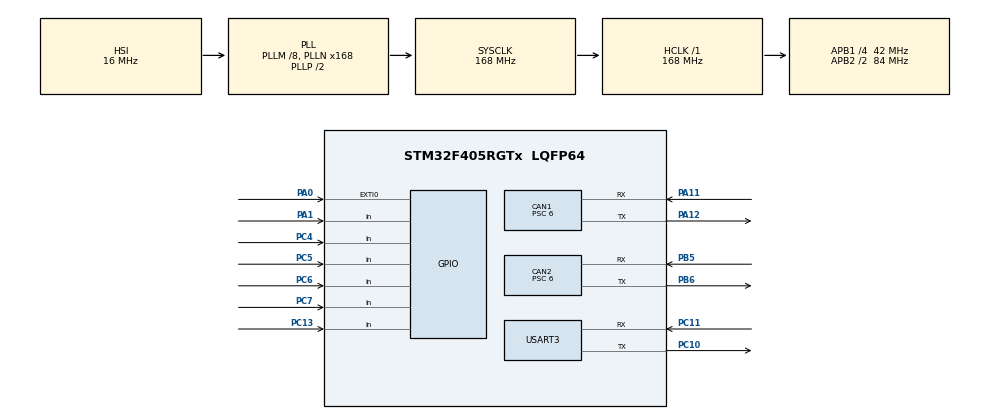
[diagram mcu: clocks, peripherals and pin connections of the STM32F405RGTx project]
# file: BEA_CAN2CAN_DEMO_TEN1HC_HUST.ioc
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ADC1.Channel-13\#ChannelRegularConversion=ADC_CHANNEL_TEMPSENSOR
ADC1.DMAContinuousRequests=ENABLE
ADC1.NbrOfConversion=1
ADC1.NbrOfConversionFlag=1
ADC1.Rank-13\#ChannelRegularConversion=1
ADC1.SamplingTime-13\#ChannelRegularConversion=ADC_SAMPLETIME_480CYCLES
ADC1.master=1
CAN1.BS1=CAN_BS1_10TQ
CAN1.BS2=CAN_BS2_3TQ
CAN1.CalculateBaudRate=500000
CAN1.CalculateTimeBit=2000
CAN1.CalculateTimeQuantum=142.85714285714286
CAN1.Prescaler=6
CAN1.SyncJumpWidth=CAN_SJW_2TQ
CAN1.TimeSeg1=CAN_BS1_10TQ
CAN1.TimeSeg2=CAN_BS2_3TQ
CAN2.BS1=CAN_BS1_10TQ
CAN2.BS2=CAN_BS2_3TQ
CAN2.CalculateBaudRate=500000
CAN2.CalculateTimeBit=2000
CAN2.CalculateTimeQuantum=142.85714285714286
CAN2.Prescaler=6
CAN2.SyncJumpWidth=CAN_SJW_2TQ
Dma.ADC1.0.Direction=DMA_PERIPH_TO_MEMORY
Dma.ADC1.0.FIFOMode=DMA_FIFOMODE_DISABLE
Dma.ADC1.0.Instance=DMA2_Stream0
Dma.ADC1.0.MemDataAlignment=DMA_MDATAALIGN_HALFWORD
Dma.ADC1.0.MemInc=DMA_MINC_ENABLE
Dma.ADC1.0.Mode=DMA_CIRCULAR
Dma.ADC1.0.PeriphDataAlignment=DMA_PDATAALIGN_HALFWORD
Dma.ADC1.0.PeriphInc=DMA_PINC_DISABLE
Dma.ADC1.0.Priority=DMA_PRIORITY_MEDIUM
Dma.Request0=ADC1
Mcu.Family=STM32F4
Mcu.Name=STM32F405RGTx
Mcu.Package=LQFP64
NVIC.CAN1_RX0_IRQn=true\:2\:0\:true\:false\:true\:true\:true\:true
NVIC.CAN2_RX0_IRQn=true\:2\:0\:true\:false\:true\:true\:true\:true
NVIC.DMA2_Stream0_IRQn=true\:0\:0\:false\:false\:true\:false\:true\:true
NVIC.EXTI0_IRQn=true\:1\:0\:true\:false\:true\:true\:true\:true
NVIC.PriorityGroup=NVIC_PRIORITYGROUP_4
NVIC.USART3_IRQn=true\:1\:0\:true\:false\:true\:true\:true\:true
PA0-WKUP.GPIO_ModeDefaultEXTI=GPIO_MODE_IT_FALLING
PA0-WKUP.GPIO_PuPd=GPIO_PULLUP
PA0-WKUP.Signal=GPXTI0
PA1.GPIO_PuPd=GPIO_PULLUP
PA1.Signal=GPIO_Input
PA11.Mode=CAN_Activate
PA11.Signal=CAN1_RX
PA12.Mode=CAN_Activate
PA12.Signal=CAN1_TX
PB5.Mode=CAN_Activate
PB5.Signal=CAN2_RX
PB6.Mode=CAN_Activate
PB6.Signal=CAN2_TX
PC10.Mode=Asynchronous
PC10.Signal=USART3_TX
PC11.Mode=Asynchronous
PC11.Signal=USART3_RX
PC13-ANTI_TAMP.GPIO_PuPd=GPIO_PULLUP
PC13-ANTI_TAMP.Signal=GPIO_Input
PC4.GPIO_PuPd=GPIO_PULLUP
PC4.Signal=GPIO_Input
PC5.GPIO_PuPd=GPIO_PULLUP
PC5.Signal=GPIO_Input
PC6.GPIO_PuPd=GPIO_PULLUP
PC6.Signal=GPIO_Input
PC7.GPIO_PuPd=GPIO_PULLUP
PC7.Signal=GPIO_Input
PH0-OSC_IN.Mode=HSE-External-Oscillator
PH0-OSC_IN.Signal=RCC_OSC_IN
PH1-OSC_OUT.Mode=HSE-External-Oscillator
PH1-OSC_OUT.Signal=RCC_OSC_OUT
ProjectManager.HeapSize=0x200
ProjectManager.StackSize=0x400
ProjectManager.TargetToolchain=STM32CubeIDE
RCC.48MHZClocksFreq_Value=84000000
RCC.AHBFreq_Value=168000000
RCC.APB1CLKDivider=RCC_HCLK_DIV4
RCC.APB1Freq_Value=42000000
RCC.APB1TimFreq_Value=84000000
RCC.APB2CLKDivider=RCC_HCLK_DIV2
RCC.APB2Freq_Value=84000000
RCC.APB2TimFreq_Value=168000000
RCC.CortexFreq_Value=168000000
RCC.HCLKFreq_Value=168000000
RCC.HSE_VALUE=8000000
RCC.HSI_VALUE=16000000
RCC.LSE_VALUE=32768
RCC.PLLM=8
RCC.PLLN=168
RCC.SYSCLKFreq_VALUE=168000000
RCC.SYSCLKSource=RCC_SYSCLKSOURCE_PLLCLK
RCC.VCOOutputFreq_Value=336000000
USART3.VirtualMode=VM_ASYNC
VP_ADC1_TempSens_Input.Mode=IN-TempSens
board=custom

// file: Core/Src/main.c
/* USER CODE BEGIN Header */
/**
  ******************************************************************************
  * @file           : main.c
  * @brief          : Main program body
  ******************************************************************************
  * @attention
  *
  * Copyright (c) 2023 STMicroelectronics.
  * All rights reserved.
  *
  * This software is licensed under terms that can be found in the LICENSE file
  * in the root directory of this software component.
  * If no LICENSE file comes with this software, it is provided AS-IS.
  *
  ******************************************************************************
  */
/* USER CODE END Header */
#include "main.h"
#include <stdio.h>
#include <stdlib.h>
#include <string.h>
#include "dcm.h"
#include "lcd_driver.h"

ADC_HandleTypeDef hadc1;
DMA_HandleTypeDef hdma_adc1;

CAN_HandleTypeDef hcan1;
CAN_HandleTypeDef hcan2;

UART_HandleTypeDef huart3;

/* USER CODE BEGIN PV */
uint8_t uart3_receive;

CAN_HandleTypeDef hcan1;
CAN_HandleTypeDef hcan2;
CAN_TxHeaderTypeDef CAN1_pHeader;
CAN_RxHeaderTypeDef CAN1_pHeaderRx;
CAN_FilterTypeDef CAN1_sFilterConfig;
CAN_TxHeaderTypeDef CAN2_pHeader;
CAN_RxHeaderTypeDef CAN2_pHeaderRx;
CAN_FilterTypeDef CAN2_sFilterConfig;
uint32_t CAN1_pTxMailbox;
uint32_t CAN2_pTxMailbox;

uint16_t NumBytesReq = 0;
uint8_t  REQ_BUFFER  [4096];
uint8_t  REQ_1BYTE_DATA;

uint16_t g_TemperatureSensorRawValue_u16[1];

uint8_t CAN1_DATA_TX[8] = {0x00,0x00,0x00,0x00,0x00,0x00,0x00,0x00};
uint8_t CAN1_DATA_RX[8] = {0x00,0x00,0x00,0x00,0x00,0x00,0x00,0x00};
uint8_t CAN2_DATA_TX[8] = {0x00,0x00,0x00,0x00,0x00,0x00,0x00,0x00};
uint8_t CAN2_DATA_RX[8] = {0x00,0x00,0x00,0x00,0x00,0x00,0x00,0x00};

uint16_t Num_Consecutive_Tester;
uint8_t  Flg_Consecutive = 0;

unsigned int TimeStamp;
// maximum characters send out via UART is 30
char bufsend[30]="XXX: D1 D2 D3 D4 D5 D6 D7 D8  ";

/* --- Node Variables --- */
uint8_t node1_val0 = 0x00;
uint8_t node1_val1 = 0x00;
uint8_t node2_counter = 0x00;
uint32_t tick_50ms = 0;
uint32_t tick_20ms = 0;
/* USER CODE END PV */

void SystemClock_Config(void);
static void MX_GPIO_Init(void);
static void MX_DMA_Init(void);
static void MX_CAN1_Init(void);
static void MX_CAN2_Init(void);
static void MX_USART3_UART_Init(void);
static void MX_ADC1_Init(void);
/* USER CODE BEGIN PFP */
void MX_CAN1_Setup();
void MX_CAN2_Setup();
void USART3_SendString(uint8_t *ch);
void PrintCANLog(uint16_t CANID, uint8_t * CAN_Frame);
void SID_22_Practice();
void SID_2E_Practice();
void SID_27_Practice();
void delay(uint16_t delay);
uint8_t Calc_CRC_SAE_J1850(uint8_t *data, uint8_t len);
/* USER CODE END PFP */

/* USER CODE BEGIN 0 */
volatile uint8_t flag_new_can1_log = 0;
volatile uint8_t flag_can_ready = 0; // Prevent SysTick crash during boot

#define TX_QUEUE_SIZE 16
volatile uint32_t tx_timestamps[TX_QUEUE_SIZE];
volatile uint8_t tx_data_queue[TX_QUEUE_SIZE][8];
volatile uint8_t tx_queue_head = 0;
volatile uint8_t tx_queue_tail = 0;
uint8_t can1_log_data[8];
volatile uint8_t flag_new_can1_rx = 0;
uint8_t can1_rx_data[8];
volatile uint8_t flag_new_can2_rx = 0;
uint8_t can2_rx_data[8];
uint8_t can2_rx_crc = 0;
uint8_t can2_rx_crc_ok = 0;
/* USER CODE END 0 */

int main(void)
{

  /* USER CODE BEGIN 1 */
	uint16_t i,j = 0;
	uint16_t Consecutive_Cntr = 0;
  /* USER CODE END 1 */

  /* MCU Configuration--------------------------------------------------------*/

  /* Reset of all peripherals, Initializes the Flash interface and the Systick. */
  HAL_Init();

  /* Configure the system clock */
  SystemClock_Config();

  /* Initialize all configured peripherals */
  MX_GPIO_Init();
  MX_DMA_Init();
  MX_CAN1_Init();
  MX_CAN2_Init();
  MX_USART3_UART_Init();
  MX_ADC1_Init();
  /* USER CODE BEGIN 2 */
  LCD_Init();
  LCD_InitDashboard();
  MX_CAN1_Setup();
  MX_CAN2_Setup();
  flag_can_ready = 1;
  __HAL_UART_ENABLE_IT(&huart3, UART_IT_RXNE);
  HAL_ADC_Start_DMA(&hadc1, (uint32_t*)g_TemperatureSensorRawValue_u16, 1);
  tick_50ms = HAL_GetTick();
  tick_20ms = HAL_GetTick();
  /* USER CODE END 2 */

  /* Infinite loop */
  while (1)
  {

    /* USER CODE BEGIN 3 */
    uint32_t current_tick = HAL_GetTick();

    static uint32_t last_tx2_lcd = 0;
    if (current_tick - last_tx2_lcd >= 100) {
        last_tx2_lcd = current_tick;
        LCD_UpdateNode2(1, CAN2_DATA_TX, 0, 0); // is_tx=1
    }

    static uint32_t last_tx1_lcd = 0;
    if (current_tick - last_tx1_lcd >= 100) {
        last_tx1_lcd = current_tick;
        LCD_UpdateNode1(1, CAN1_DATA_TX); // is_tx=1
    }

    /* Handle deferred LCD updates from CAN ISRs (prevent SPI re-entrancy) */
    static uint32_t last_rx_lcd = 0;
    if (current_tick - last_rx_lcd >= 100) {
        last_rx_lcd = current_tick;
        if (flag_new_can1_rx) {
            flag_new_can1_rx = 0;
            LCD_UpdateNode1(0, can1_rx_data);
        }
        if (flag_new_can1_log) {
            flag_new_can1_log = 0;
            LCD_AddLog(can1_log_data);
        }
        if (flag_new_can2_rx) {
            flag_new_can2_rx = 0;
            LCD_UpdateNode2(0, can2_rx_data, can2_rx_crc, can2_rx_crc_ok);
        }
    }

    while (tx_queue_tail != tx_queue_head) {
        char buf[100];
        sprintf(buf, "%u %03X: %02X %02X %02X %02X %02X %02X %02X %02X\r\n",
                (unsigned int)tx_timestamps[tx_queue_tail], 0x012,
                tx_data_queue[tx_queue_tail][0], tx_data_queue[tx_queue_tail][1],
                tx_data_queue[tx_queue_tail][2], tx_data_queue[tx_queue_tail][3],
                tx_data_queue[tx_queue_tail][4], tx_data_queue[tx_queue_tail][5],
                tx_data_queue[tx_queue_tail][6], tx_data_queue[tx_queue_tail][7]);
        USART3_SendString((uint8_t*)buf);
        tx_queue_tail = (tx_queue_tail + 1) % TX_QUEUE_SIZE;
    }

    if(!BtnU) /*IG OFF->ON stimulation*/
    {
      delay(20);
      USART3_SendString((uint8_t *)"IG OFF ");
      while(!BtnU);
      MX_CAN1_Setup();
      MX_CAN2_Setup();
      USART3_SendString((uint8_t *)"-> IG ON \n");
      delay(20);
    }

    /* Kiem tra REQ_BUFFER co chua 1 frame BEA hoan chinh hay khong */
      if (NumBytesReq >= 7 &&
          REQ_BUFFER[0] == 0x0F && REQ_BUFFER[1] == 0xFF && REQ_BUFFER[2] == 0xF0 &&
          REQ_BUFFER[NumBytesReq-3] == 0xF0 &&
          REQ_BUFFER[NumBytesReq-2] == 0x00 &&
          REQ_BUFFER[NumBytesReq-1] == 0x0F)
      {
          uint8_t sid = REQ_BUFFER[3];   /* Service ID nam ngay sau Start of Frame */

          switch (sid)
          {
              case 0x22:
                  SID_22_Practice();
                  break;
              case 0x27:
                  SID_27_Practice();
                  break;
              case 0x2E:
                  SID_2E_Practice();
                  break;
              default:
                  /* SID khong ho tro - im lang, khong phan hoi (theo tai lieu) */
                  break;
          }

          /* Reset buffer de san sang nhan frame tiep theo */
          memset(&REQ_BUFFER, 0x00, sizeof(REQ_BUFFER));
          NumBytesReq = 0;
      }

  }
  memset(&REQ_BUFFER,0x00,4096);
  NumBytesReq = 0;

  /* USER CODE END 3 */
}

void SystemClock_Config(void)
{
  RCC_OscInitTypeDef RCC_OscInitStruct = {0};
  RCC_ClkInitTypeDef RCC_ClkInitStruct = {0};

  /** Configure the main internal regulator output voltage
  */
  __HAL_RCC_PWR_CLK_ENABLE();
  __HAL_PWR_VOLTAGESCALING_CONFIG(PWR_REGULATOR_VOLTAGE_SCALE1);

  /** Initializes the RCC Oscillators according to the specified parameters
  * in the RCC_OscInitTypeDef structure.
  */
  RCC_OscInitStruct.OscillatorType = RCC_OSCILLATORTYPE_HSI;
  RCC_OscInitStruct.HSIState = RCC_HSI_ON;
  RCC_OscInitStruct.HSICalibrationValue = RCC_HSICALIBRATION_DEFAULT;
  RCC_OscInitStruct.PLL.PLLState = RCC_PLL_ON;
  RCC_OscInitStruct.PLL.PLLSource = RCC_PLLSOURCE_HSI;
  RCC_OscInitStruct.PLL.PLLM = 8;
  RCC_OscInitStruct.PLL.PLLN = 168;
  RCC_OscInitStruct.PLL.PLLP = RCC_PLLP_DIV2;
  RCC_OscInitStruct.PLL.PLLQ = 4;
  if (HAL_RCC_OscConfig(&RCC_OscInitStruct) != HAL_OK)
  {
    Error_Handler();
  }

  /** Initializes the CPU, AHB and APB buses clocks
  */
  RCC_ClkInitStruct.ClockType = RCC_CLOCKTYPE_HCLK|RCC_CLOCKTYPE_SYSCLK
                              |RCC_CLOCKTYPE_PCLK1|RCC_CLOCKTYPE_PCLK2;
  RCC_ClkInitStruct.SYSCLKSource = RCC_SYSCLKSOURCE_PLLCLK;
  RCC_ClkInitStruct.AHBCLKDivider = RCC_SYSCLK_DIV1;
  RCC_ClkInitStruct.APB1CLKDivider = RCC_HCLK_DIV4;
  RCC_ClkInitStruct.APB2CLKDivider = RCC_HCLK_DIV2;

  if (HAL_RCC_ClockConfig(&RCC_ClkInitStruct, FLASH_LATENCY_5) != HAL_OK)
  {
    Error_Handler();
  }
}

static void MX_ADC1_Init(void)
{

  ADC_ChannelConfTypeDef sConfig = {0};

  /** Configure the global features of the ADC (Clock, Resolution, Data Alignment and number of conversion)
  */
  hadc1.Instance = ADC1;
  hadc1.Init.ClockPrescaler = ADC_CLOCK_SYNC_PCLK_DIV4;
  hadc1.Init.Resolution = ADC_RESOLUTION_12B;
  hadc1.Init.ScanConvMode = DISABLE;
  hadc1.Init.ContinuousConvMode = ENABLE;
  hadc1.Init.DiscontinuousConvMode = DISABLE;
  hadc1.Init.ExternalTrigConvEdge = ADC_EXTERNALTRIGCONVEDGE_NONE;
  hadc1.Init.ExternalTrigConv = ADC_SOFTWARE_START;
  hadc1.Init.DataAlign = ADC_DATAALIGN_RIGHT;
  hadc1.Init.NbrOfConversion = 1;
  hadc1.Init.DMAContinuousRequests = ENABLE;
  hadc1.Init.EOCSelection = ADC_EOC_SINGLE_CONV;
  if (HAL_ADC_Init(&hadc1) != HAL_OK)
  {
    Error_Handler();
  }

  /** Configure for the selected ADC regular channel its corresponding rank in the sequencer and its sample time.
  */
  sConfig.Channel = ADC_CHANNEL_TEMPSENSOR;
  sConfig.Rank = 1;
  sConfig.SamplingTime = ADC_SAMPLETIME_480CYCLES;
  if (HAL_ADC_ConfigChannel(&hadc1, &sConfig) != HAL_OK)
  {
    Error_Handler();
  }

}

static void MX_CAN1_Init(void)
{

  hcan1.Instance = CAN1;
  hcan1.Init.Prescaler = 6;
  hcan1.Init.Mode = CAN_MODE_NORMAL;
  hcan1.Init.SyncJumpWidth = CAN_SJW_2TQ;
  hcan1.Init.TimeSeg1 = CAN_BS1_10TQ;
  hcan1.Init.TimeSeg2 = CAN_BS2_3TQ;
  hcan1.Init.TimeTriggeredMode = DISABLE;
  hcan1.Init.AutoBusOff = DISABLE;
  hcan1.Init.AutoWakeUp = DISABLE;
  hcan1.Init.AutoRetransmission = DISABLE;
  hcan1.Init.ReceiveFifoLocked = DISABLE;
  hcan1.Init.TransmitFifoPriority = DISABLE;
  if (HAL_CAN_Init(&hcan1) != HAL_OK)
  {
    Error_Handler();
  }

}

static void MX_CAN2_Init(void)
{

  hcan2.Instance = CAN2;
  hcan2.Init.Prescaler = 6;
  hcan2.Init.Mode = CAN_MODE_NORMAL;
  hcan2.Init.SyncJumpWidth = CAN_SJW_2TQ;
  hcan2.Init.TimeSeg1 = CAN_BS1_10TQ;
  hcan2.Init.TimeSeg2 = CAN_BS2_3TQ;
  hcan2.Init.TimeTriggeredMode = DISABLE;
  hcan2.Init.AutoBusOff = DISABLE;
  hcan2.Init.AutoWakeUp = DISABLE;
  hcan2.Init.AutoRetransmission = DISABLE;
  hcan2.Init.ReceiveFifoLocked = DISABLE;
  hcan2.Init.TransmitFifoPriority = DISABLE;
  if (HAL_CAN_Init(&hcan2) != HAL_OK)
  {
    Error_Handler();
  }

}

static void MX_USART3_UART_Init(void)
{

  huart3.Instance = USART3;
  huart3.Init.BaudRate = 115200;
  huart3.Init.WordLength = UART_WORDLENGTH_8B;
  huart3.Init.StopBits = UART_STOPBITS_1;
  huart3.Init.Parity = UART_PARITY_NONE;
  huart3.Init.Mode = UART_MODE_TX_RX;
  huart3.Init.HwFlowCtl = UART_HWCONTROL_NONE;
  huart3.Init.OverSampling = UART_OVERSAMPLING_16;
  if (HAL_UART_Init(&huart3) != HAL_OK)
  {
    Error_Handler();
  }

}

static void MX_DMA_Init(void)
{

  /* DMA controller clock enable */
  __HAL_RCC_DMA2_CLK_ENABLE();

  /* DMA interrupt init */
  /* DMA2_Stream0_IRQn interrupt configuration */
  HAL_NVIC_SetPriority(DMA2_Stream0_IRQn, 0, 0);
  HAL_NVIC_EnableIRQ(DMA2_Stream0_IRQn);

}

static void MX_GPIO_Init(void)
{
  GPIO_InitTypeDef GPIO_InitStruct = {0};

  /* GPIO Ports Clock Enable */
  __HAL_RCC_GPIOC_CLK_ENABLE();
  __HAL_RCC_GPIOH_CLK_ENABLE();
  __HAL_RCC_GPIOA_CLK_ENABLE();
  __HAL_RCC_GPIOB_CLK_ENABLE();

  /*Configure GPIO pins : PC13 PC4 PC5 PC6
                           PC7 */
  GPIO_InitStruct.Pin = GPIO_PIN_13|GPIO_PIN_4|GPIO_PIN_5|GPIO_PIN_6
                          |GPIO_PIN_7;
  GPIO_InitStruct.Mode = GPIO_MODE_INPUT;
  GPIO_InitStruct.Pull = GPIO_PULLUP;
  HAL_GPIO_Init(GPIOC, &GPIO_InitStruct);

  /*Configure GPIO pin : PA0 */
  GPIO_InitStruct.Pin = GPIO_PIN_0;
  GPIO_InitStruct.Mode = GPIO_MODE_IT_FALLING;
  GPIO_InitStruct.Pull = GPIO_PULLUP;
  HAL_GPIO_Init(GPIOA, &GPIO_InitStruct);

  /*Configure GPIO pin : PA1 */
  GPIO_InitStruct.Pin = GPIO_PIN_1;
  GPIO_InitStruct.Mode = GPIO_MODE_INPUT;
  GPIO_InitStruct.Pull = GPIO_PULLUP;
  HAL_GPIO_Init(GPIOA, &GPIO_InitStruct);

  /* EXTI interrupt init*/
  HAL_NVIC_SetPriority(EXTI0_IRQn, 1, 0);
  HAL_NVIC_EnableIRQ(EXTI0_IRQn);

}

/* USER CODE BEGIN 4 */

void MX_CAN1_Setup()
{
	CAN1_sFilterConfig.FilterBank = 0;
	CAN1_sFilterConfig.FilterMode = CAN_FILTERMODE_IDMASK;
	CAN1_sFilterConfig.FilterScale = CAN_FILTERSCALE_32BIT;
	CAN1_sFilterConfig.FilterIdHigh = 0x0000;
	CAN1_sFilterConfig.FilterIdLow = 0x0000;
	CAN1_sFilterConfig.FilterMaskIdHigh = 0x0000;
	CAN1_sFilterConfig.FilterMaskIdLow = 0x0000;
	CAN1_sFilterConfig.FilterFIFOAssignment = CAN_RX_FIFO0;
	CAN1_sFilterConfig.FilterActivation = ENABLE;
	CAN1_sFilterConfig.SlaveStartFilterBank = 14;
	HAL_CAN_ConfigFilter(&hcan1, &CAN1_sFilterConfig);
	HAL_CAN_Start(&hcan1);
	HAL_CAN_ActivateNotification(&hcan1, CAN_IT_RX_FIFO0_MSG_PENDING);

    /* Initialize CAN1 Tx Header Defaults */
    CAN1_pHeader.StdId = 0x012;
    CAN1_pHeader.IDE = CAN_ID_STD;
    CAN1_pHeader.RTR = CAN_RTR_DATA;
    CAN1_pHeader.DLC = 8;
}
void MX_CAN2_Setup()
{
	CAN2_sFilterConfig.FilterBank = 14;
	CAN2_sFilterConfig.FilterMode = CAN_FILTERMODE_IDMASK;
	CAN2_sFilterConfig.FilterScale = CAN_FILTERSCALE_32BIT;
	CAN2_sFilterConfig.FilterIdHigh = 0x0000;
	CAN2_sFilterConfig.FilterIdLow = 0x0000;
	CAN2_sFilterConfig.FilterMaskIdHigh = 0x0000;
	CAN2_sFilterConfig.FilterMaskIdLow = 0x0000;
	CAN2_sFilterConfig.FilterFIFOAssignment = CAN_RX_FIFO0;
	CAN2_sFilterConfig.FilterActivation = ENABLE;
	HAL_CAN_ConfigFilter(&hcan2, &CAN2_sFilterConfig);
	HAL_CAN_Start(&hcan2);
	HAL_CAN_ActivateNotification(&hcan2, CAN_IT_RX_FIFO0_MSG_PENDING);
}

uint8_t Calc_CRC_SAE_J1850(uint8_t *data, uint8_t len)
{
    uint8_t crc = 0xFF;
    for (uint8_t i = 0; i < len; i++) {
        crc ^= data[i];
        for (uint8_t j = 0; j < 8; j++) {
            if (crc & 0x80) {
                crc = (crc << 1) ^ 0x1D;
            } else {
                crc <<= 1;
            }
        }
    }
    return ~crc;
}

void HAL_ADC_ConvCpltCallback(ADC_HandleTypeDef *hadc)
{
	HAL_ADC_Start_DMA(&hadc1, (uint32_t*)g_TemperatureSensorRawValue_u16, 1);
}
void USART3_SendString(uint8_t *ch)
{
   while(*ch!=0)
   {
      HAL_UART_Transmit(&huart3, ch, 1,HAL_MAX_DELAY);
      ch++;
   }
}
void PrintCANLog(uint16_t CANID, uint8_t * CAN_Frame)
{
    /* TẮT CHỨC NĂNG IN LOG CAN ĐỂ TRÁNH RÁC UART KHI CHẤM BÀI UDS */
    // char buf[100];
    // sprintf(buf, "%u %03X: %02X %02X %02X %02X %02X %02X %02X %02X\r\n",
    //         (unsigned int)TimeStamp, CANID,
    //         CAN_Frame[0], CAN_Frame[1], CAN_Frame[2], CAN_Frame[3],
    //         CAN_Frame[4], CAN_Frame[5], CAN_Frame[6], CAN_Frame[7]);
    // USART3_SendString((uint8_t*)buf);
}
void HAL_UART_RxCpltCallback(UART_HandleTypeDef *huart)
{
	REQ_BUFFER[NumBytesReq] = REQ_1BYTE_DATA;
	NumBytesReq++;
	//REQ_BUFFER[7] = NumBytesReq;
}
void delay(uint16_t delay)
{
	HAL_Delay(delay);
}

void HAL_SYSTICK_Callback(void)
{
    if (!flag_can_ready) return;

    static uint32_t sys_tick_20ms = 0;
    static uint32_t sys_tick_50ms = 0;

    sys_tick_20ms++;
    if (sys_tick_20ms >= 20) {
        sys_tick_20ms = 0;

        static uint8_t dynamic_val0 = 0x00;
        static uint8_t dynamic_val1 = 0x50;

        CAN2_DATA_TX[0] = dynamic_val0++;
        CAN2_DATA_TX[1] = dynamic_val1;
        if (dynamic_val0 % 10 == 0) dynamic_val1++; // Value1 tăng chậm hơn Value0

        CAN2_DATA_TX[2] = 0x00;
        CAN2_DATA_TX[3] = 0x00;
        CAN2_DATA_TX[4] = 0x00;
        CAN2_DATA_TX[5] = 0x00;
        CAN2_DATA_TX[6] = Calc_CRC_SAE_J1850(CAN2_DATA_TX, 6);
        CAN2_DATA_TX[7] = node2_counter++;
        if (node2_counter > 14) node2_counter = 0;

        CAN2_pHeader.StdId = 0x0A2;
        CAN2_pHeader.IDE = CAN_ID_STD;
        CAN2_pHeader.RTR = CAN_RTR_DATA;
        CAN2_pHeader.DLC = 8;
        HAL_CAN_AddTxMessage(&hcan2, &CAN2_pHeader, CAN2_DATA_TX, &CAN2_pTxMailbox);
    }

    sys_tick_50ms++;
    if (sys_tick_50ms >= 50) {
        sys_tick_50ms = 0;

        CAN1_DATA_TX[0] = node1_val0;
        CAN1_DATA_TX[1] = node1_val1;
        CAN1_DATA_TX[2] = node1_val0 + node1_val1;
        CAN1_DATA_TX[3] = 0x00;
        CAN1_DATA_TX[4] = 0x00;
        CAN1_DATA_TX[5] = 0x00;
        CAN1_DATA_TX[6] = Calc_CRC_SAE_J1850(CAN1_DATA_TX, 6);
        CAN1_DATA_TX[7] = 0x00;

        HAL_CAN_AddTxMessage(&hcan1, &CAN1_pHeader, CAN1_DATA_TX, &CAN1_pTxMailbox);

        uint8_t next_head = (tx_queue_head + 1) % TX_QUEUE_SIZE;
        if (next_head != tx_queue_tail) {
            tx_timestamps[tx_queue_head] = TimeStamp;
            for (int i=0; i<8; i++) tx_data_queue[tx_queue_head][i] = CAN1_DATA_TX[i];
            tx_queue_head = next_head;
        }
    }
}
/* USER CODE END 4 */

void Error_Handler(void)
{
  __disable_irq();
  while (1)
  {
  }
}
